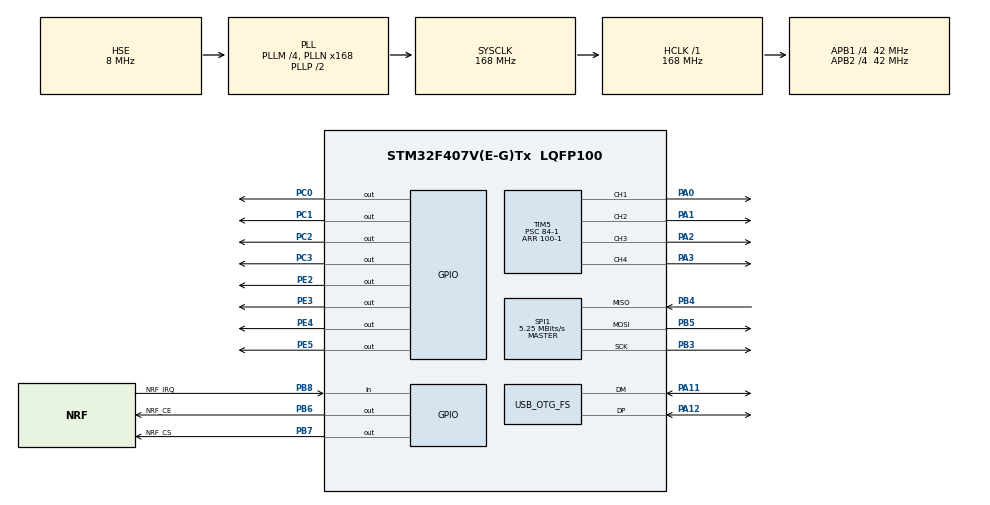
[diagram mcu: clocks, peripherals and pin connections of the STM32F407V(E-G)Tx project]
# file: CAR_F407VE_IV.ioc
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Mcu.Family=STM32F4
Mcu.Name=STM32F407V(E-G)Tx
Mcu.Package=LQFP100
NVIC.OTG_FS_IRQn=true\:0\:0\:false\:false\:true\:false\:true
NVIC.PriorityGroup=NVIC_PRIORITYGROUP_4
PA0-WKUP.Signal=S_TIM5_CH1
PA1.Signal=S_TIM5_CH2
PA11.Mode=Device_Only
PA11.Signal=USB_OTG_FS_DM
PA12.Mode=Device_Only
PA12.Signal=USB_OTG_FS_DP
PA13.Mode=Serial_Wire
PA13.Signal=SYS_JTMS-SWDIO
PA14.Mode=Serial_Wire
PA14.Signal=SYS_JTCK-SWCLK
PA2.Signal=S_TIM5_CH3
PA3.Signal=S_TIM5_CH4
PB3.Mode=Full_Duplex_Master
PB3.Signal=SPI1_SCK
PB4.Mode=Full_Duplex_Master
PB4.Signal=SPI1_MISO
PB5.Mode=Full_Duplex_Master
PB5.Signal=SPI1_MOSI
PB6.GPIO_Label=NRF_CE
PB6.Signal=GPIO_Output
PB7.GPIO_Label=NRF_CS
PB7.Signal=GPIO_Output
PB8.GPIO_Label=NRF_IRQ
PB8.Signal=GPIO_Input
PC0.Signal=GPIO_Output
PC1.Signal=GPIO_Output
PC2.Signal=GPIO_Output
PC3.Signal=GPIO_Output
PE2.Signal=GPIO_Output
PE3.Signal=GPIO_Output
PE4.Signal=GPIO_Output
PE5.Signal=GPIO_Output
PH0-OSC_IN.Mode=HSE-External-Oscillator
PH0-OSC_IN.Signal=RCC_OSC_IN
PH1-OSC_OUT.Mode=HSE-External-Oscillator
PH1-OSC_OUT.Signal=RCC_OSC_OUT
ProjectManager.HeapSize=0x200
ProjectManager.StackSize=0x400
ProjectManager.TargetToolchain=EWARM V8.32
RCC.48MHZClocksFreq_Value=48000000
RCC.AHBFreq_Value=168000000
RCC.APB1CLKDivider=RCC_HCLK_DIV4
RCC.APB1Freq_Value=42000000
RCC.APB1TimFreq_Value=84000000
RCC.APB2CLKDivider=RCC_HCLK_DIV4
RCC.APB2Freq_Value=42000000
RCC.APB2TimFreq_Value=84000000
RCC.CortexFreq_Value=168000000
RCC.HCLKFreq_Value=168000000
RCC.HSE_VALUE=8000000
RCC.HSI_VALUE=16000000
RCC.LSE_VALUE=32768
RCC.PLLM=4
RCC.PLLN=168
RCC.PLLQ=7
RCC.SYSCLKFreq_VALUE=168000000
RCC.SYSCLKSource=RCC_SYSCLKSOURCE_PLLCLK
RCC.VCOOutputFreq_Value=336000000
SH.S_TIM5_CH1.0=TIM5_CH1,PWM Generation1 CH1
SH.S_TIM5_CH2.0=TIM5_CH2,PWM Generation2 CH2
SH.S_TIM5_CH3.0=TIM5_CH3,PWM Generation3 CH3
SH.S_TIM5_CH4.0=TIM5_CH4,PWM Generation4 CH4
SPI1.BaudRatePrescaler=SPI_BAUDRATEPRESCALER_8
SPI1.CalculateBaudRate=5.25 MBits/s
SPI1.Direction=SPI_DIRECTION_2LINES
SPI1.Mode=SPI_MODE_MASTER
SPI1.VirtualType=VM_MASTER
TIM5.Channel-PWM\ Generation1\ CH1=TIM_CHANNEL_1
TIM5.Channel-PWM\ Generation2\ CH2=TIM_CHANNEL_2
TIM5.Channel-PWM\ Generation3\ CH3=TIM_CHANNEL_3
TIM5.Channel-PWM\ Generation4\ CH4=TIM_CHANNEL_4
TIM5.Period=100-1
TIM5.Prescaler=84-1
USB_DEVICE.CLASS_NAME_FS=CDC
USB_DEVICE.VirtualMode-CDC_FS=Cdc
USB_DEVICE.VirtualModeFS=Cdc_FS
USB_OTG_FS.VirtualMode=Device_Only
VP_USB_DEVICE_VS_USB_DEVICE_CDC_FS.Mode=CDC_FS
board=custom

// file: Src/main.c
/* USER CODE BEGIN Header */
/**
  ******************************************************************************
  * @file           : main.c
  * @brief          : Main program body
  ******************************************************************************
  * @attention
  *
  * <h2><center>&copy; Copyright (c) 2020 STMicroelectronics.
  * All rights reserved.</center></h2>
  *
  * This software component is licensed by ST under BSD 3-Clause license,
  * the "License"; You may not use this file except in compliance with the
  * License. You may obtain a copy of the License at:
  *                        opensource.org/licenses/BSD-3-Clause
  *
  ******************************************************************************
  */
/* USER CODE END Header */

#include "main.h"
#include "usb_device.h"
/* USER CODE BEGIN Includes */
#include "motor.h"
#include "MY_NRF24.h"
#include "nrf24_mavlink.h"

/* USER CODE END Includes */

SPI_HandleTypeDef hspi1;

TIM_HandleTypeDef htim5;

/* USER CODE BEGIN PV */
MOTOR_STATUS status = GO_UCW;
uint64_t TxpipeAddrs= 0x112344AA;
//char myTxData[32]="Hello world!";
//char AckPayload[32];
char CAR[]="CAR Activated!!!\r\n";

/* USER CODE END PV */

void SystemClock_Config(void);
static void MX_GPIO_Init(void);
static void MX_TIM5_Init(void);
static void MX_SPI1_Init(void);

int main(void)
{

  /* MCU Configuration--------------------------------------------------------*/

  /* Reset of all peripherals, Initializes the Flash interface and the Systick. */
  HAL_Init();

  /* Configure the system clock */
  SystemClock_Config();

  /* Initialize all configured peripherals */
  MX_GPIO_Init();
  MX_TIM5_Init();
  MX_SPI1_Init();
  MX_USB_DEVICE_Init();
  /* USER CODE BEGIN 2 */
//  HAL_GPIO_WritePin(GPIOE,GPIO_PIN_2,GPIO_PIN_SET);
//  HAL_GPIO_WritePin(GPIOE,GPIO_PIN_4,GPIO_PIN_RESET);
//  HAL_TIM_PWM_Start(&htim5,TIM_CHANNEL_1);
  motor_init();

  /* nRF24L01 config */
  HAL_Delay(5000);
  HAL_Delay(5000);
  NRF24_begin(GPIOB,GPIO_PIN_7,GPIO_PIN_6,hspi1);
  printRadioSettings();
  VCPSend((uint8_t *)CAR, strlen(CAR));

  // Transmit - width ACK
  NRF24_stopListening();
  NRF24_openWritingPipe(TxpipeAddrs);
  NRF24_setAutoAck(true);
  NRF24_setChannel(52);
  NRF24_setPayloadSize(32);
  NRF24_enableDynamicPayloads();
  NRF24_enableAckPayload();
  motor_init();
  /* USER CODE END 2 */

  /* Infinite loop */
  /* USER CODE BEGIN WHILE */
  while (1)
  {
//    if(NRF24_write(myTxData, 32))
//    {
//      NRF24_read(AckPayload, 32);
//      char TxBuf[100];
//      sprintf(TxBuf, "Send Success!\r\n");
//      VCPSend((uint8_t *)TxBuf, strlen(TxBuf));
//      sprintf(TxBuf, "Ack: %s\r\n", AckPayload);
//      VCPSend((uint8_t *)TxBuf, strlen(TxBuf));
//    }
  update_mavlink();

    update_motors(&status);
    /* USER CODE END WHILE */

    /* USER CODE BEGIN 3 */
    HAL_Delay(1000);
  }
  /* USER CODE END 3 */
}

void SystemClock_Config(void)
{
  RCC_OscInitTypeDef RCC_OscInitStruct = {0};
  RCC_ClkInitTypeDef RCC_ClkInitStruct = {0};

  /** Configure the main internal regulator output voltage
  */
  __HAL_RCC_PWR_CLK_ENABLE();
  __HAL_PWR_VOLTAGESCALING_CONFIG(PWR_REGULATOR_VOLTAGE_SCALE1);
  /** Initializes the CPU, AHB and APB busses clocks
  */
  RCC_OscInitStruct.OscillatorType = RCC_OSCILLATORTYPE_HSE;
  RCC_OscInitStruct.HSEState = RCC_HSE_ON;
  RCC_OscInitStruct.PLL.PLLState = RCC_PLL_ON;
  RCC_OscInitStruct.PLL.PLLSource = RCC_PLLSOURCE_HSE;
  RCC_OscInitStruct.PLL.PLLM = 4;
  RCC_OscInitStruct.PLL.PLLN = 168;
  RCC_OscInitStruct.PLL.PLLP = RCC_PLLP_DIV2;
  RCC_OscInitStruct.PLL.PLLQ = 7;
  if (HAL_RCC_OscConfig(&RCC_OscInitStruct) != HAL_OK)
  {
    Error_Handler();
  }
  /** Initializes the CPU, AHB and APB busses clocks
  */
  RCC_ClkInitStruct.ClockType = RCC_CLOCKTYPE_HCLK|RCC_CLOCKTYPE_SYSCLK
                              |RCC_CLOCKTYPE_PCLK1|RCC_CLOCKTYPE_PCLK2;
  RCC_ClkInitStruct.SYSCLKSource = RCC_SYSCLKSOURCE_PLLCLK;
  RCC_ClkInitStruct.AHBCLKDivider = RCC_SYSCLK_DIV1;
  RCC_ClkInitStruct.APB1CLKDivider = RCC_HCLK_DIV4;
  RCC_ClkInitStruct.APB2CLKDivider = RCC_HCLK_DIV4;

  if (HAL_RCC_ClockConfig(&RCC_ClkInitStruct, FLASH_LATENCY_5) != HAL_OK)
  {
    Error_Handler();
  }
}

static void MX_SPI1_Init(void)
{

  /* SPI1 parameter configuration*/
  hspi1.Instance = SPI1;
  hspi1.Init.Mode = SPI_MODE_MASTER;
  hspi1.Init.Direction = SPI_DIRECTION_2LINES;
  hspi1.Init.DataSize = SPI_DATASIZE_8BIT;
  hspi1.Init.CLKPolarity = SPI_POLARITY_LOW;
  hspi1.Init.CLKPhase = SPI_PHASE_1EDGE;
  hspi1.Init.NSS = SPI_NSS_SOFT;
  hspi1.Init.BaudRatePrescaler = SPI_BAUDRATEPRESCALER_8;
  hspi1.Init.FirstBit = SPI_FIRSTBIT_MSB;
  hspi1.Init.TIMode = SPI_TIMODE_DISABLE;
  hspi1.Init.CRCCalculation = SPI_CRCCALCULATION_DISABLE;
  hspi1.Init.CRCPolynomial = 10;
  if (HAL_SPI_Init(&hspi1) != HAL_OK)
  {
    Error_Handler();
  }

}

static void MX_TIM5_Init(void)
{

  TIM_MasterConfigTypeDef sMasterConfig = {0};
  TIM_OC_InitTypeDef sConfigOC = {0};

  htim5.Instance = TIM5;
  htim5.Init.Prescaler = 84-1;
  htim5.Init.CounterMode = TIM_COUNTERMODE_UP;
  htim5.Init.Period = 100-1;
  htim5.Init.ClockDivision = TIM_CLOCKDIVISION_DIV1;
  htim5.Init.AutoReloadPreload = TIM_AUTORELOAD_PRELOAD_DISABLE;
  if (HAL_TIM_PWM_Init(&htim5) != HAL_OK)
  {
    Error_Handler();
  }
  sMasterConfig.MasterOutputTrigger = TIM_TRGO_RESET;
  sMasterConfig.MasterSlaveMode = TIM_MASTERSLAVEMODE_DISABLE;
  if (HAL_TIMEx_MasterConfigSynchronization(&htim5, &sMasterConfig) != HAL_OK)
  {
    Error_Handler();
  }
  sConfigOC.OCMode = TIM_OCMODE_PWM1;
  sConfigOC.Pulse = 0;
  sConfigOC.OCPolarity = TIM_OCPOLARITY_HIGH;
  sConfigOC.OCFastMode = TIM_OCFAST_DISABLE;
  if (HAL_TIM_PWM_ConfigChannel(&htim5, &sConfigOC, TIM_CHANNEL_1) != HAL_OK)
  {
    Error_Handler();
  }
  if (HAL_TIM_PWM_ConfigChannel(&htim5, &sConfigOC, TIM_CHANNEL_2) != HAL_OK)
  {
    Error_Handler();
  }
  if (HAL_TIM_PWM_ConfigChannel(&htim5, &sConfigOC, TIM_CHANNEL_3) != HAL_OK)
  {
    Error_Handler();
  }
  if (HAL_TIM_PWM_ConfigChannel(&htim5, &sConfigOC, TIM_CHANNEL_4) != HAL_OK)
  {
    Error_Handler();
  }
  HAL_TIM_MspPostInit(&htim5);

}

static void MX_GPIO_Init(void)
{
  GPIO_InitTypeDef GPIO_InitStruct = {0};

  /* GPIO Ports Clock Enable */
  __HAL_RCC_GPIOE_CLK_ENABLE();
  __HAL_RCC_GPIOH_CLK_ENABLE();
  __HAL_RCC_GPIOC_CLK_ENABLE();
  __HAL_RCC_GPIOA_CLK_ENABLE();
  __HAL_RCC_GPIOB_CLK_ENABLE();

  /*Configure GPIO pin Output Level */
  HAL_GPIO_WritePin(GPIOE, GPIO_PIN_2|GPIO_PIN_3|GPIO_PIN_4|GPIO_PIN_5, GPIO_PIN_RESET);

  /*Configure GPIO pin Output Level */
  HAL_GPIO_WritePin(GPIOC, GPIO_PIN_0|GPIO_PIN_1|GPIO_PIN_2|GPIO_PIN_3, GPIO_PIN_RESET);

  /*Configure GPIO pin Output Level */
  HAL_GPIO_WritePin(GPIOB, NRF_CE_Pin|NRF_CS_Pin, GPIO_PIN_RESET);

  /*Configure GPIO pins : PE2 PE3 PE4 PE5 */
  GPIO_InitStruct.Pin = GPIO_PIN_2|GPIO_PIN_3|GPIO_PIN_4|GPIO_PIN_5;
  GPIO_InitStruct.Mode = GPIO_MODE_OUTPUT_PP;
  GPIO_InitStruct.Pull = GPIO_NOPULL;
  GPIO_InitStruct.Speed = GPIO_SPEED_FREQ_LOW;
  HAL_GPIO_Init(GPIOE, &GPIO_InitStruct);

  /*Configure GPIO pins : PC0 PC1 PC2 PC3 */
  GPIO_InitStruct.Pin = GPIO_PIN_0|GPIO_PIN_1|GPIO_PIN_2|GPIO_PIN_3;
  GPIO_InitStruct.Mode = GPIO_MODE_OUTPUT_PP;
  GPIO_InitStruct.Pull = GPIO_NOPULL;
  GPIO_InitStruct.Speed = GPIO_SPEED_FREQ_LOW;
  HAL_GPIO_Init(GPIOC, &GPIO_InitStruct);

  /*Configure GPIO pins : NRF_CE_Pin NRF_CS_Pin */
  GPIO_InitStruct.Pin = NRF_CE_Pin|NRF_CS_Pin;
  GPIO_InitStruct.Mode = GPIO_MODE_OUTPUT_PP;
  GPIO_InitStruct.Pull = GPIO_NOPULL;
  GPIO_InitStruct.Speed = GPIO_SPEED_FREQ_LOW;
  HAL_GPIO_Init(GPIOB, &GPIO_InitStruct);

  /*Configure GPIO pin : NRF_IRQ_Pin */
  GPIO_InitStruct.Pin = NRF_IRQ_Pin;
  GPIO_InitStruct.Mode = GPIO_MODE_INPUT;
  GPIO_InitStruct.Pull = GPIO_NOPULL;
  HAL_GPIO_Init(NRF_IRQ_GPIO_Port, &GPIO_InitStruct);

}

void Error_Handler(void)
{
}

/************************ (C) COPYRIGHT STMicroelectronics *****END OF FILE****/
